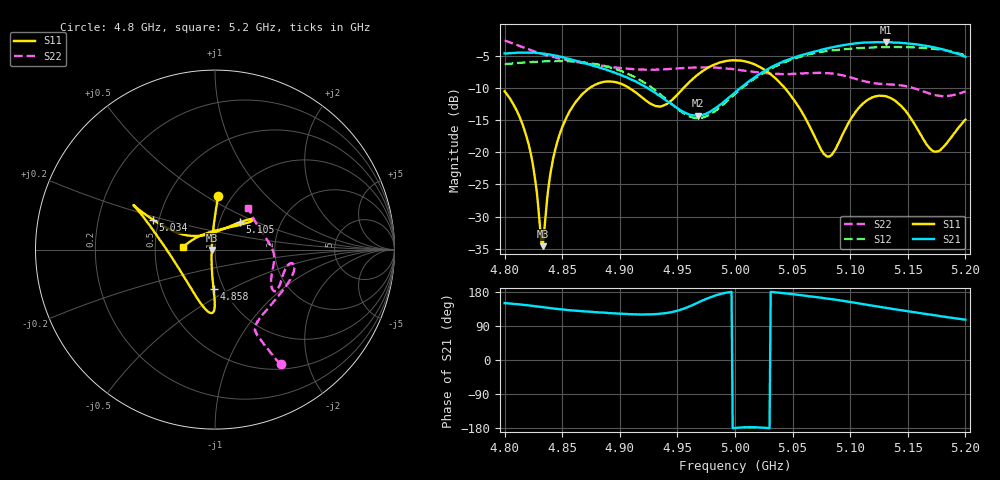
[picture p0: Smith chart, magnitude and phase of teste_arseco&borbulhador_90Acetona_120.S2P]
! Network Analyzer HP8722D
! Hewlett-Packard
! Data name: Linha & Wilkinson
! Saver's name: Rodrigo Anjos
! Comments: Teste da utilização de aquisição
! continua pelo VNA HP8722D
! Time and date: 17/4/2025 12:03
!  Frequency  S11  S21  S12  S22
# HZ  S  MA R 50
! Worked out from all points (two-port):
!   401 points, 4.8 GHz to 5.2 GHz, reference 50 ohm
!   highest |S21| = -2.89 dB at 5.131 GHz (marker M1); lowest = -14.3 dB at 4.968 GHz (marker M2)
!   |S21| within 3 dB of the highest: start of sweep to 4.864 GHz; 5.042 GHz to end of sweep
!   lowest |S11| = -34.6 dB at 4.833 GHz (marker M3), VSWR 1.04, Z = 48.2 - j0.238 ohm
!   |S11| at or under -10 dB: start of sweep to 4.874 GHz; 4.908 GHz to 4.956 GHz (47.67 MHz wide, 0.967 % of centre); 5.043 GHz to end of sweep
!   |S22| runs from -11.3 to -2.6 dB; largest |S21 - S12| = 1.3
!   S11 on the Smith chart (normalised r, x): 4.8 GHz: 0.86, +0.56; 4.858 GHz: 0.90, -0.41; 5.034 GHz: 0.46, +0.18; 5.105 GHz: 1.25, +0.40; 5.2 GHz: 0.70, +0.02
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4.8e9  0.297 86.7  0.5846 150.1  0.4833 -111.5  0.7371 -60.2
4.811e9  0.2061 89.2  0.5921 147.3  0.4932 -111.4  0.6776 -61.2
4.82e9  0.1226 93.9  0.5928 144.5  0.4985 -110.8  0.633 -61.9
4.825e9  0.07564 99.7  0.5936 142.5  0.5032 -110.4  0.6103 -62.3
4.831e9  0.02415 136.4  0.5862 140.2  0.5043 -109.9  0.585 -62.7
4.833e9  0.01862 -172.4  0.5831 139.4  0.5056 -109.9  0.5783 -62.9
4.839e9  0.06133 -108.0  0.5738 137.2  0.5087 -109.5  0.5589 -63.3
4.843e9  0.09666 -100.8  0.565 135.5  0.5102 -109.2  0.5461 -63.5
4.858e9  0.2181 -91.9  0.5237 131.0  0.5068 -109.2  0.5089 -63.7
4.867e9  0.2793 -90.4  0.4986 128.6  0.5005 -109.1  0.4941 -63.2
4.898e9  0.347 -96.6  0.4057 122.8  0.4356 -112.7  0.4529 -55.3
4.934e9  0.2269 -147.7  0.2754 121.7  0.2875 -116.0  0.4377 -34.8
4.968e9  0.4012 158.5  0.1919 151.6  0.1832 -84.3  0.4543 -17.0
5e9  0.5178 151.4  0.2911 -179.1  0.2826 -49.6  0.4388 -10.1
5.034e9  0.3827 154.3  0.4693 179.0  0.4582 -43.7  0.4065 -15.8
5.067e9  0.1452 148.4  0.597 167.3  0.5826 -47.3  0.4114 -29.9
5.082e9  0.09264 100.8  0.6454 161.5  0.6124 -50.2  0.4095 -34.3
5.105e9  0.2076 47.5  0.6998 150.7  0.6401 -55.2  0.3699 -32.2
5.131e9  0.2717 37.7  0.7166 137.7  0.6547 -63.2  0.3366 -14.6
5.134e9  0.2652 37.6  0.7133 136.3  0.6544 -64.2  0.3362 -12.3
5.173e9  0.1008 102.0  0.6522 118.2  0.6349 -77.8  0.2785 20.4
5.2e9  0.1791 175.8  0.5499 106.5  0.5648 -87.1  0.2952 51.0
